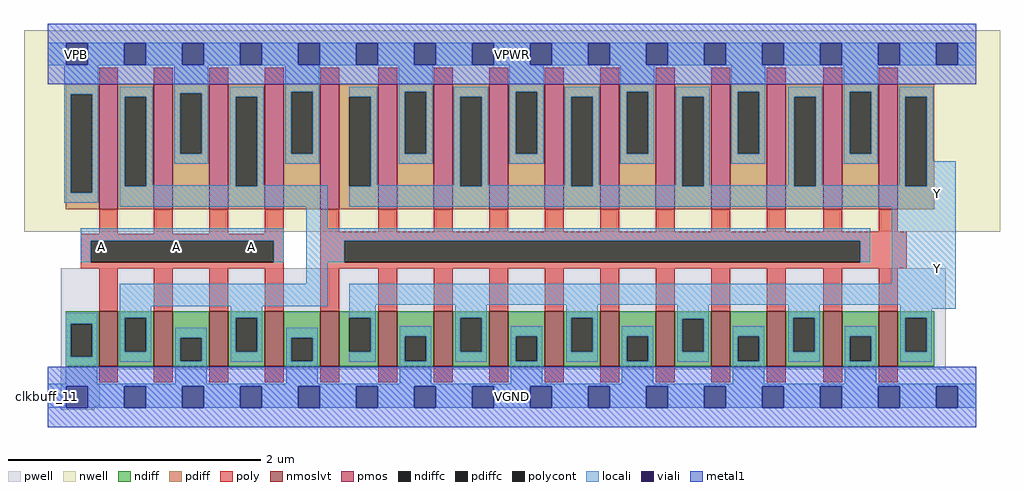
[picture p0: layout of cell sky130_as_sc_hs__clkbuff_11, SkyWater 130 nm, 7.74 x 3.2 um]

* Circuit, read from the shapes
.subckt sky130_as_sc_hs__clkbuff_11 VPB VPWR VGND VNB A Y
XM1 n1 A VGND VNB sky130_fd_pr__nfet_01v8_lvt w=0.435 l=0.15 m=4
XM2 Y n1 VGND VNB sky130_fd_pr__nfet_01v8_lvt w=0.435 l=0.15 m=11
XM3 n1 A VPWR VPB sky130_fd_pr__pfet_01v8 w=0.99 l=0.15 m=4
XM4 Y n1 VPWR VPB sky130_fd_pr__pfet_01v8 w=0.99 l=0.15 m=11
.ends

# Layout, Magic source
magic
tech sky130A
magscale 1 2
<< nwell >>
rect -38 262 1510 582
<< pwell >>
rect 20 44 1424 204
rect 20 -15 82 44
rect 20 -20 74 -15
<< pmos >>
rect 81 298 111 496
rect 168 298 198 496
rect 256 298 286 496
rect 344 298 374 496
rect 432 298 462 496
rect 524 298 554 496
rect 612 298 642 496
rect 700 298 730 496
rect 788 298 818 496
rect 876 298 906 496
rect 964 298 994 496
rect 1052 298 1082 496
rect 1140 298 1170 496
rect 1230 298 1260 496
rect 1318 298 1348 496
<< nmoslvt >>
rect 81 49 111 136
rect 168 49 198 136
rect 256 49 286 136
rect 344 49 374 136
rect 432 49 462 136
rect 524 49 554 136
rect 612 49 642 136
rect 700 49 730 136
rect 788 49 818 136
rect 876 49 906 136
rect 964 49 994 136
rect 1052 49 1082 136
rect 1140 49 1170 136
rect 1230 49 1260 136
rect 1318 49 1348 136
<< ndiff >>
rect 28 116 81 136
rect 28 64 36 116
rect 70 64 81 116
rect 28 49 81 64
rect 111 126 168 136
rect 111 72 122 126
rect 156 72 168 126
rect 111 49 168 72
rect 198 94 256 136
rect 198 57 210 94
rect 244 57 256 94
rect 198 49 256 57
rect 286 126 344 136
rect 286 72 298 126
rect 332 72 344 126
rect 286 49 344 72
rect 374 94 432 136
rect 374 57 386 94
rect 420 57 432 94
rect 374 49 432 57
rect 462 126 524 136
rect 462 72 478 126
rect 512 72 524 126
rect 462 49 524 72
rect 554 96 612 136
rect 554 57 566 96
rect 600 57 612 96
rect 554 49 612 57
rect 642 126 700 136
rect 642 72 654 126
rect 688 72 700 126
rect 642 49 700 72
rect 730 96 788 136
rect 730 57 742 96
rect 776 57 788 96
rect 730 49 788 57
rect 818 126 876 136
rect 818 72 830 126
rect 864 72 876 126
rect 818 49 876 72
rect 906 96 964 136
rect 906 57 918 96
rect 952 57 964 96
rect 906 49 964 57
rect 994 124 1052 136
rect 994 72 1006 124
rect 1040 72 1052 124
rect 994 49 1052 72
rect 1082 96 1140 136
rect 1082 57 1094 96
rect 1128 57 1140 96
rect 1082 49 1140 57
rect 1170 126 1230 136
rect 1170 72 1182 126
rect 1216 72 1230 126
rect 1170 49 1230 72
rect 1260 96 1318 136
rect 1260 57 1272 96
rect 1306 57 1318 96
rect 1260 49 1318 57
rect 1348 126 1406 136
rect 1348 72 1360 126
rect 1394 72 1406 126
rect 1348 49 1406 72
<< pdiff >>
rect 28 480 81 496
rect 28 324 36 480
rect 70 324 81 480
rect 28 298 81 324
rect 111 476 168 496
rect 111 334 122 476
rect 156 334 168 476
rect 111 298 168 334
rect 198 482 256 496
rect 198 386 210 482
rect 244 386 256 482
rect 198 298 256 386
rect 286 476 344 496
rect 286 334 298 476
rect 332 334 344 476
rect 286 298 344 334
rect 374 484 432 496
rect 374 386 386 484
rect 420 386 432 484
rect 374 298 432 386
rect 462 476 524 496
rect 462 334 478 476
rect 512 334 524 476
rect 462 298 524 334
rect 554 484 612 496
rect 554 386 566 484
rect 600 386 612 484
rect 554 298 612 386
rect 642 476 700 496
rect 642 334 654 476
rect 688 334 700 476
rect 642 298 700 334
rect 730 484 788 496
rect 730 386 742 484
rect 776 386 788 484
rect 730 298 788 386
rect 818 476 876 496
rect 818 334 830 476
rect 864 334 876 476
rect 818 298 876 334
rect 906 484 964 496
rect 906 386 918 484
rect 952 386 964 484
rect 906 298 964 386
rect 994 476 1052 496
rect 994 334 1006 476
rect 1040 334 1052 476
rect 994 298 1052 334
rect 1082 484 1140 496
rect 1082 386 1094 484
rect 1128 386 1140 484
rect 1082 298 1140 386
rect 1170 476 1230 496
rect 1170 334 1184 476
rect 1218 334 1230 476
rect 1170 298 1230 334
rect 1260 484 1318 496
rect 1260 386 1272 484
rect 1306 386 1318 484
rect 1260 298 1318 386
rect 1348 476 1406 496
rect 1348 334 1360 476
rect 1394 334 1406 476
rect 1348 298 1406 334
<< ndiffc >>
rect 36 64 70 116
rect 122 72 156 126
rect 210 57 244 94
rect 298 72 332 126
rect 386 57 420 94
rect 478 72 512 126
rect 566 57 600 96
rect 654 72 688 126
rect 742 57 776 96
rect 830 72 864 126
rect 918 57 952 96
rect 1006 72 1040 124
rect 1094 57 1128 96
rect 1182 72 1216 126
rect 1272 57 1306 96
rect 1360 72 1394 126
<< pdiffc >>
rect 36 324 70 480
rect 122 334 156 476
rect 210 386 244 482
rect 298 334 332 476
rect 386 386 420 484
rect 478 334 512 476
rect 566 386 600 484
rect 654 334 688 476
rect 742 386 776 484
rect 830 334 864 476
rect 918 386 952 484
rect 1006 334 1040 476
rect 1094 386 1128 484
rect 1184 334 1218 476
rect 1272 386 1306 484
rect 1360 334 1394 476
<< poly >>
rect 81 496 111 522
rect 168 496 198 522
rect 256 496 286 522
rect 344 496 374 522
rect 432 496 462 522
rect 524 496 554 522
rect 612 496 642 522
rect 700 496 730 522
rect 788 496 818 522
rect 876 496 906 522
rect 964 496 994 522
rect 1052 496 1082 522
rect 1140 496 1170 522
rect 1230 496 1260 522
rect 1318 496 1348 522
rect 81 259 111 298
rect 168 259 198 298
rect 256 259 286 298
rect 344 259 374 298
rect 52 248 374 259
rect 52 214 68 248
rect 358 214 374 248
rect 52 204 374 214
rect 81 136 111 204
rect 168 136 198 204
rect 256 136 286 204
rect 344 136 374 204
rect 432 262 462 298
rect 524 262 554 298
rect 612 262 642 298
rect 700 262 730 298
rect 788 262 818 298
rect 876 262 906 298
rect 964 262 994 298
rect 1052 262 1082 298
rect 1140 262 1170 298
rect 1230 262 1260 298
rect 1318 262 1348 298
rect 432 248 1362 262
rect 432 214 470 248
rect 1288 214 1362 248
rect 432 204 1362 214
rect 432 136 462 204
rect 524 136 554 204
rect 612 136 642 204
rect 700 136 730 204
rect 788 136 818 204
rect 876 136 906 204
rect 964 136 994 204
rect 1052 136 1082 204
rect 1140 136 1170 204
rect 1230 136 1260 204
rect 1318 136 1348 204
rect 81 23 111 49
rect 168 23 198 49
rect 256 23 286 49
rect 344 23 374 49
rect 432 23 462 49
rect 524 23 554 49
rect 612 23 642 49
rect 700 23 730 49
rect 788 23 818 49
rect 876 23 906 49
rect 964 23 994 49
rect 1052 23 1082 49
rect 1140 23 1170 49
rect 1230 23 1260 49
rect 1318 23 1348 49
<< polycont >>
rect 68 214 358 248
rect 470 214 1288 248
<< locali >>
rect 0 561 1472 562
rect 0 527 29 561
rect 63 527 121 561
rect 155 527 213 561
rect 247 527 305 561
rect 339 527 397 561
rect 431 527 489 561
rect 523 527 581 561
rect 615 527 673 561
rect 707 527 765 561
rect 799 527 857 561
rect 891 527 949 561
rect 983 527 1041 561
rect 1075 527 1133 561
rect 1167 527 1225 561
rect 1259 527 1317 561
rect 1351 527 1409 561
rect 1443 527 1472 561
rect 0 526 1472 527
rect 26 480 80 526
rect 26 324 36 480
rect 70 324 80 480
rect 26 308 80 324
rect 114 476 166 492
rect 114 334 122 476
rect 156 336 166 476
rect 200 482 254 526
rect 200 386 210 482
rect 244 386 254 482
rect 200 370 254 386
rect 288 476 342 492
rect 288 336 298 476
rect 156 334 298 336
rect 332 336 342 476
rect 376 484 430 526
rect 376 386 386 484
rect 420 386 430 484
rect 376 370 430 386
rect 478 476 522 492
rect 332 334 444 336
rect 114 302 444 334
rect 512 336 522 476
rect 556 484 610 526
rect 556 386 566 484
rect 600 386 610 484
rect 556 370 610 386
rect 644 476 698 492
rect 644 336 654 476
rect 512 334 654 336
rect 688 336 698 476
rect 732 484 786 526
rect 732 386 742 484
rect 776 386 786 484
rect 732 370 786 386
rect 820 476 874 492
rect 820 336 830 476
rect 688 334 830 336
rect 864 336 874 476
rect 908 484 962 526
rect 908 386 918 484
rect 952 386 962 484
rect 908 370 962 386
rect 996 476 1050 492
rect 996 336 1006 476
rect 864 334 1006 336
rect 1040 336 1050 476
rect 1084 484 1138 526
rect 1084 386 1094 484
rect 1128 386 1138 484
rect 1084 370 1138 386
rect 1174 476 1228 492
rect 1174 336 1184 476
rect 1040 334 1184 336
rect 1218 336 1228 476
rect 1262 484 1316 526
rect 1262 386 1272 484
rect 1306 386 1316 484
rect 1262 370 1316 386
rect 1350 476 1404 492
rect 1350 336 1360 476
rect 1218 334 1360 336
rect 1394 374 1404 476
rect 1394 334 1440 374
rect 478 302 1440 334
rect 410 268 444 302
rect 52 248 374 268
rect 52 214 68 248
rect 358 214 374 248
rect 410 248 1304 268
rect 410 214 470 248
rect 1288 214 1304 248
rect 410 180 444 214
rect 1338 180 1440 302
rect 114 144 444 180
rect 478 146 1440 180
rect 28 116 78 134
rect 28 64 36 116
rect 70 64 78 116
rect 28 21 78 64
rect 114 126 164 144
rect 114 72 122 126
rect 156 72 164 126
rect 290 126 340 144
rect 114 56 164 72
rect 202 94 252 110
rect 202 57 210 94
rect 244 57 252 94
rect 202 21 252 57
rect 290 72 298 126
rect 332 72 340 126
rect 478 126 520 146
rect 290 56 340 72
rect 378 94 428 110
rect 378 57 386 94
rect 420 57 428 94
rect 378 21 428 57
rect 512 72 520 126
rect 646 126 696 146
rect 478 56 520 72
rect 558 96 608 112
rect 558 57 566 96
rect 600 57 608 96
rect 558 21 608 57
rect 646 72 654 126
rect 688 72 696 126
rect 822 126 872 146
rect 646 56 696 72
rect 734 96 784 112
rect 734 57 742 96
rect 776 57 784 96
rect 734 21 784 57
rect 822 72 830 126
rect 864 72 872 126
rect 998 124 1048 146
rect 822 56 872 72
rect 910 96 960 112
rect 910 57 918 96
rect 952 57 960 96
rect 910 21 960 57
rect 998 72 1006 124
rect 1040 72 1048 124
rect 1174 126 1224 146
rect 998 56 1048 72
rect 1086 96 1136 112
rect 1086 57 1094 96
rect 1128 57 1136 96
rect 1086 21 1136 57
rect 1174 72 1182 126
rect 1216 72 1224 126
rect 1352 140 1440 146
rect 1352 126 1402 140
rect 1174 56 1224 72
rect 1264 96 1314 112
rect 1264 57 1272 96
rect 1306 57 1314 96
rect 1264 21 1314 57
rect 1352 72 1360 126
rect 1394 72 1402 126
rect 1352 56 1402 72
rect 0 17 1472 21
rect 0 -17 29 17
rect 63 -17 121 17
rect 155 -17 213 17
rect 247 -17 305 17
rect 339 -17 397 17
rect 431 -17 489 17
rect 523 -17 581 17
rect 615 -17 673 17
rect 707 -17 765 17
rect 799 -17 857 17
rect 891 -17 949 17
rect 983 -17 1041 17
rect 1075 -17 1133 17
rect 1167 -17 1225 17
rect 1259 -17 1317 17
rect 1351 -17 1409 17
rect 1443 -17 1472 17
<< viali >>
rect 29 527 63 561
rect 121 527 155 561
rect 213 527 247 561
rect 305 527 339 561
rect 397 527 431 561
rect 489 527 523 561
rect 581 527 615 561
rect 673 527 707 561
rect 765 527 799 561
rect 857 527 891 561
rect 949 527 983 561
rect 1041 527 1075 561
rect 1133 527 1167 561
rect 1225 527 1259 561
rect 1317 527 1351 561
rect 1409 527 1443 561
rect 29 -17 63 17
rect 121 -17 155 17
rect 213 -17 247 17
rect 305 -17 339 17
rect 397 -17 431 17
rect 489 -17 523 17
rect 581 -17 615 17
rect 673 -17 707 17
rect 765 -17 799 17
rect 857 -17 891 17
rect 949 -17 983 17
rect 1041 -17 1075 17
rect 1133 -17 1167 17
rect 1225 -17 1259 17
rect 1317 -17 1351 17
rect 1409 -17 1443 17
<< metal1 >>
rect 0 561 1472 592
rect 0 527 29 561
rect 63 527 121 561
rect 155 527 213 561
rect 247 527 305 561
rect 339 527 397 561
rect 431 527 489 561
rect 523 527 581 561
rect 615 527 673 561
rect 707 527 765 561
rect 799 527 857 561
rect 891 527 949 561
rect 983 527 1041 561
rect 1075 527 1133 561
rect 1167 527 1225 561
rect 1259 527 1317 561
rect 1351 527 1409 561
rect 1443 527 1472 561
rect 0 496 1472 527
rect 0 17 1472 48
rect 0 -17 29 17
rect 63 -17 121 17
rect 155 -17 213 17
rect 247 -17 305 17
rect 339 -17 397 17
rect 431 -17 489 17
rect 523 -17 581 17
rect 615 -17 673 17
rect 707 -17 765 17
rect 799 -17 857 17
rect 891 -17 949 17
rect 983 -17 1041 17
rect 1075 -17 1133 17
rect 1167 -17 1225 17
rect 1259 -17 1317 17
rect 1351 -17 1409 17
rect 1443 -17 1472 17
rect 0 -48 1472 -17
<< labels >>
rlabel comment s 0 0 0 0 4 clkbuff_11
flabel pwell s 29 -17 63 17 0 FreeSans 200 0 0 0 VNB
port 4 nsew ground bidirectional
flabel pwell s 46 0 46 0 0 FreeSans 200 0 0 0 VNB
flabel nwell s 29 527 63 561 0 FreeSans 200 0 0 0 VPB
port 1 nsew power bidirectional
flabel nwell s 46 544 46 544 0 FreeSans 200 0 0 0 VPB
flabel metal1 s 29 527 63 561 0 FreeSans 200 0 0 0 VPWR
port 2 nsew power bidirectional abutment
flabel metal1 s 29 -17 63 17 0 FreeSans 200 0 0 0 VGND
port 3 nsew ground bidirectional abutment
rlabel metal1 s 0 -48 1472 48 1 VGND
port 3 nsew ground bidirectional abutment
rlabel metal1 s 0 496 1472 592 1 VPWR
port 2 nsew power bidirectional abutment
flabel locali s 1394 306 1428 340 0 FreeSans 200 0 0 0 Y
port 6 nsew signal output
flabel locali s 1411 323 1411 323 0 FreeSans 200 0 0 0 Y
flabel locali s 1394 187 1428 221 0 FreeSans 200 0 0 0 Y
port 6 nsew signal output
flabel locali s 1411 204 1411 204 0 FreeSans 200 0 0 0 Y
flabel locali s 68 221 102 255 0 FreeSans 200 0 0 0 A
port 5 nsew signal input
flabel locali s 85 238 85 238 0 FreeSans 200 0 0 0 A
flabel locali s 187 221 221 255 0 FreeSans 200 0 0 0 A
port 5 nsew signal input
flabel locali s 204 238 204 238 0 FreeSans 200 0 0 0 A
flabel locali s 306 221 340 255 0 FreeSans 200 0 0 0 A
port 5 nsew signal input
flabel locali s 323 238 323 238 0 FreeSans 200 0 0 0 A
<< properties >>
string FIXED_BBOX 0 0 1472 544
string GDS_FILE $PDKPATH/libs.ref/sky130_as_sc_hs/gds/sky130_as_sc_hs__clkbuff_11.gds
string LEFclass CORE
string LEFsite unithd
string LEFsymmetry X Y R90
string MASKHINTS_LVTN 0 -4 1472 172
string MASKHINTS_NSDM 0 -38 1472 161
string MASKHINTS_PSDM 0 273 1472 582
<< end >>
